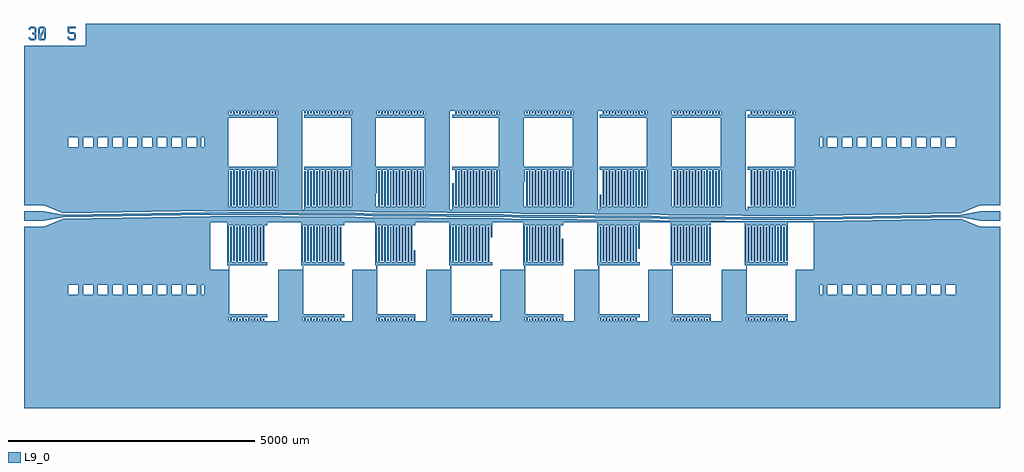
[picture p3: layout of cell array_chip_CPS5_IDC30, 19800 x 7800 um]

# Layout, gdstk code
from math import pi, radians
import gdstk
lib = gdstk.Library(unit=1e-6, precision=1e-09)
def R(c, l, rs):  # rectangles x0, y0, x1, y1
    for r in rs: c.add(gdstk.rectangle(r[:2], r[2:], *l))
def P(c, l, *ps):  # polygons
    for p in ps: c.add(gdstk.Polygon(p, *l))
L9_0 = (9, 0)

text_30_5 = lib.new_cell('text_30_5')
P(text_30_5, L9_0, [(-9703.5,3811.25),(-9672.5,3842),(-9580.25,3842),(-9549.5,3811.25),(-9549.5,3719),(-9565,3703.5),(-9549.5,3688),(-9549.5,3595.75),(-9580.5,3565),(-9672.75,3565),(-9703.5,3596),(-9703.5,3626.75),(-9672.75,3626.75),(-9672.75,3611.25),(-9657.25,3595.75),(-9595.75,3595.75),(-9580.25,3611.25),(-9580.25,3672.75),(-9595.75,3688.25),(-9626.5,3688.25),(-9626.5,3719),(-9595.75,3719),(-9580.25,3734.25),(-9580.25,3795.75),(-9595.75,3811.5),(-9657.25,3811.5),(-9672.75,3796),(-9672.75,3780.5),(-9703.5,3780.5)],
  [(-9472.75,3580.5),(-9349.5,3811.25),(-9380.25,3826.5),(-9503.5,3595.75)],
  [(-9503.5,3811.25),(-9472.75,3842),(-9457.25,3842),(-9457.25,3811.25),(-9472.75,3795.75),(-9472.75,3611.25),(-9457.25,3595.75),(-9395.75,3595.75),(-9380.25,3611.25),(-9380.25,3795.75),(-9395.75,3811.25),(-9457.25,3811.25),(-9457.25,3842),(-9380.25,3842),(-9349.5,3811.25),(-9349.5,3595.75),(-9380.5,3565),(-9472.75,3565),(-9503.5,3595.75)],
  [(-8749.75,3842),(-8749.75,3811.25),(-8872.75,3811.25),(-8872.75,3749.75),(-8857.25,3734.25),(-8780.25,3734.25),(-8749.5,3703.5),(-8749.5,3595.75),(-8780.5,3565),(-8872.75,3565),(-8903.5,3595.75),(-8903.5,3642),(-8872.75,3642),(-8872.75,3611.25),(-8857.25,3595.75),(-8795.75,3595.75),(-8780,3611),(-8780,3688),(-8795.5,3703.5),(-8872.5,3703.5),(-8903.25,3734.25),(-8903.25,3842)])

idc30_finger_pair_ = lib.new_cell('IDC30_finger_pair_')
R(idc30_finger_pair_, L9_0, [(90,60,810,90), (60,120,780,150)])

idc30_base = lib.new_cell('IDC30_base')
R(idc30_base, L9_0, [(0,0,60,750), (60,0,870,30), (810,35,870,750)])
r = gdstk.Reference(idc30_finger_pair_, (0,0)); r.repetition = gdstk.Repetition(1, 6, v1=(750,0), v2=(0,120)); idc30_base.add(r)

resonator_idc30_cps5__ba = lib.new_cell('resonator_IDC30_CPS5__base')
R(resonator_idc30_cps5__ba, L9_0, [(870,25,1870,30), (870,35,1870,40)])
resonator_idc30_cps5__ba.add(gdstk.Reference(idc30_base, (2740,0), rotation=pi, x_reflection=True))
resonator_idc30_cps5__ba.add(gdstk.Reference(idc30_base, (0,0)))

idc30_240_quad = lib.new_cell('IDC30_240_quad')
R(idc30_240_quad, L9_0, [(-1996,-2806.5,-1966,-2566.5), (-436,-2296.5,-406,-2056.5), (-436,-936.5,-406,-696.5), (-1996,-426.5,-1966,-186.5)])

idc30_480_quad = lib.new_cell('IDC30_480_quad')
R(idc30_480_quad, L9_0, [(1004,-2806.5,1034,-2326.5), (2564,-2536.5,2594,-2056.5), (2564,-936.5,2594,-456.5), (1004,-666.5,1034,-186.5)])

band_2_ext_idc30 = lib.new_cell('band_2_ext_IDC30')
R(band_2_ext_idc30, L9_0, [(3975,-2867.5,4035,-2807.5), (5475,-2867.5,5595,-2807.5), (5505,-2777.5,5535,-2057.5), (3975,-2057.5,4035,-1997.5), (5475,-2057.5,5595,-1997.5), (3975,-997.5,4035,-937.5), (5475,-997.5,5595,-937.5), (5505,-937.5,5535,-217.5), (3975,-187.5,4035,-127.5), (5475,-187.5,5595,-127.5)])

idc30_var_struct = lib.new_cell('IDC30_var_struct')
R(idc30_var_struct, L9_0, [(-4215,187.5,-4185,907.5), (-5775,217.5,-5745,937.5), (-5775,2057.5,-5745,2777.5), (-4215,2087.5,-4185,2807.5)])

idc30_seq = lib.new_cell('IDC30_seq')
R(idc30_seq, L9_0, [(-1215,187.5,-1185,667.5), (1785,187.5,1815,427.5), (-2775,457.5,-2745,937.5), (225,697.5,255,937.5), (-2775,2057.5,-2745,2537.5), (225,2057.5,255,2297.5), (-1215,2327.5,-1185,2807.5), (1785,2567.5,1815,2807.5)])
idc30_seq.add(gdstk.Reference(idc30_var_struct, (0,0)))

band_1a_ext_idc_30 = lib.new_cell('band_1a_ext_IDC_30')
R(band_1a_ext_idc_30, L9_0, [(-5775,127.5,-5715,187.5), (-5715,187.5,-5685,907.5), (-5775,937.5,-5715,997.5)])

band_1a_ext_idc30_pair = lib.new_cell('band_1a_ext_IDC30_pair')
band_1a_ext_idc30_pair.add(gdstk.Reference(band_1a_ext_idc_30, (0,2995), x_reflection=True))
band_1a_ext_idc30_pair.add(gdstk.Reference(band_1a_ext_idc_30, (0,0)))

band_1_ext_idc30 = lib.new_cell('band_1_ext_IDC30')
R(band_1_ext_idc30, L9_0, [(-5715,127.5,-5475,187.5), (-5655,217.5,-5625,937.5), (-5715,937.5,-5475,997.5)])
band_1_ext_idc30.add(gdstk.Reference(idc30_finger_pair_, (-5445,127.5), rotation=pi/2))

band_1_ext_idc30_pair = lib.new_cell('band_1_ext_IDC30_pair')
band_1_ext_idc30_pair.add(gdstk.Reference(band_1_ext_idc30, (0,2995), x_reflection=True))
band_1_ext_idc30_pair.add(gdstk.Reference(band_1_ext_idc30, (0,0)))

idc30_cps5_resonators = lib.new_cell('IDC30_CPS5_resonators')
r = gdstk.Reference(resonator_idc30_cps5__ba, (-5775,-127.5), rotation=3*pi/2); r.repetition = gdstk.Repetition(1, 8, v1=(0,-1500), v2=(1500,0)); idc30_cps5_resonators.add(r)
r = gdstk.Reference(resonator_idc30_cps5__ba, (5775,127.5), rotation=pi/2); r.repetition = gdstk.Repetition(1, 8, v1=(0,1500), v2=(-1500,0)); idc30_cps5_resonators.add(r)
idc30_cps5_resonators.add(gdstk.Reference(idc30_240_quad, (-2401,-1), rotation=pi, x_reflection=True))
idc30_cps5_resonators.add(gdstk.Reference(idc30_480_quad, (3599,-1), rotation=pi, x_reflection=True))
r = gdstk.Reference(band_2_ext_idc30, (-9000,0)); r.repetition = gdstk.Repetition(4, 1, v1=(3000,0), v2=(0,2740)); idc30_cps5_resonators.add(r)
idc30_cps5_resonators.add(gdstk.Reference(idc30_var_struct, (9780,0), x_reflection=True))
idc30_cps5_resonators.add(gdstk.Reference(idc30_seq, (0,0)))
r = gdstk.Reference(band_1a_ext_idc30_pair, (0,0)); r.repetition = gdstk.Repetition(4, 1, v1=(3000,0), v2=(0,2740)); idc30_cps5_resonators.add(r)
r = gdstk.Reference(band_1_ext_idc30_pair, (0,0)); r.repetition = gdstk.Repetition(8, 1, v1=(1500,0), v2=(0,2740)); idc30_cps5_resonators.add(r)

cell0 = lib.new_cell('Cell0')
R(cell0, L9_0, [(-9100,1397.5,-9000,1597.5)])

trl_section2 = lib.new_cell('trl_section2')
R(trl_section2, L9_0, [(5825,-122.5,6125,-107.5), (5825,-77.5,6125,-27.5), (5825,2.5,6125,107.5)])

groundplane_spoke = lib.new_cell('groundplane_spoke')
R(groundplane_spoke, L9_0, [(-4730,47.5,-4250,2082.5)])

input_coupler_half = lib.new_cell('input_coupler_half')
R(input_coupler_half, L9_0, [(0,-320,400,-220), (0,-100,400,0)])
P(input_coupler_half, L9_0, [(400,-220),(800,-55),(800,-320),(400,-320)],
  [(400,-100),(400,0),(800,0),(800,-25)])

input_coupler = lib.new_cell('input_coupler')
input_coupler.add(gdstk.Reference(input_coupler_half, (-9900,0), x_reflection=True))
input_coupler.add(gdstk.Reference(input_coupler_half, (-9900,0)))

chip_boarder_half = lib.new_cell('chip_boarder_half')
R(chip_boarder_half, L9_0, [(-9900,-3900,-9100,-320), (-9100,-3900,0,-3100), (-6240,-3100,0,-2135), (-6240,2135,0,3100)])
P(chip_boarder_half, L9_0, [(-9900,320),(-9100,320),(-9100,3100),(0,3100),(0,3900),(-8647,3900),(-8647,3450),(-9900,3450)])
chip_boarder_half.add(gdstk.Reference(input_coupler, (0,0)))

array_chip_base = lib.new_cell('array_chip_base')
R(array_chip_base, L9_0, [(-9100,-3100,-6125,-1597.5), (6125,-3100,9100,-1597.5), (-6125,-122.5,-5825,-107.5), (-5825,-122.5,4675,-107.5), (4675,-122.5,5825,-107.5), (-5825,-107.5,-4675,-2.5), (-4325,-107.5,-3175,-17.5), (-2825,-107.5,-1675,-32.5), (-1325,-107.5,-175,-47.5), (175,-107.5,1325,-62.5), (1675,-107.5,2825,-77.5), (3175,-107.5,4325,-92.5), (4675,-77.5,5825,-27.5), (3175,-62.5,4325,-12.5), (1675,-47.5,2825,2.5), (175,-32.5,1325,17.5), (-1325,-17.5,-175,32.5), (-2825,-2.5,-1675,47.5), (4675,2.5,5825,107.5), (-4325,12.5,-3175,62.5), (3175,17.5,4325,107.5), (-5825,27.5,-4675,77.5), (1675,32.5,2825,107.5), (175,47.5,1325,107.5), (-1325,62.5,-175,107.5), (-2825,77.5,-1675,107.5), (-4325,92.5,-3175,107.5), (-5825,107.5,-4675,122.5), (-4675,107.5,6125,122.5), (-9100,1597.5,-6125,3100), (6125,1597.5,9100,3100), (8647,3450,9900,3900)])
P(array_chip_base, L9_0, [(9100,25),(9100,-25),(6125,-77.5),(6125,-27.5)],
  [(-6125,77.5),(-6125,27.5),(-9100,-25),(-9100,25)],
  [(-4675,-2.5),(-4675,-107.5),(-4325,-107.5),(-4325,-17.5)],
  [(-3175,-17.5),(-3175,-107.5),(-2825,-107.5),(-2825,-32.5)],
  [(-1675,-32.5),(-1675,-107.5),(-1325,-107.5),(-1325,-47.5)],
  [(-175,-47.5),(-175,-107.5),(175,-107.5),(175,-62.5)],
  [(1325,-62.5),(1325,-107.5),(1675,-107.5),(1675,-77.5)],
  [(2825,-77.5),(2825,-107.5),(3175,-107.5),(3175,-92.5)],
  [(4325,-92.5),(4325,-107.5),(4675,-107.5)],
  [(4325,107.5),(4325,17.5),(4675,2.5),(4675,107.5)],
  [(2825,107.5),(2825,32.5),(3175,17.5),(3175,107.5)],
  [(1325,107.5),(1325,47.5),(1675,32.5),(1675,107.5)],
  [(-175,107.5),(-175,62.5),(175,47.5),(175,107.5)],
  [(-1675,107.5),(-1675,77.5),(-1325,62.5),(-1325,107.5)],
  [(-3175,107.5),(-3175,92.5),(-2825,77.5),(-2825,107.5)],
  [(-4675,107.5),(-4325,92.5),(-4325,107.5)],
  [(4325,-12.5),(4325,-62.5),(4675,-77.5),(4675,-27.5)],
  [(2825,2.5),(2825,-47.5),(3175,-62.5),(3175,-12.5)],
  [(1325,17.5),(1325,-32.5),(1675,-47.5),(1675,2.5)],
  [(-175,32.5),(-175,-17.5),(175,-32.5),(175,17.5)],
  [(-1675,47.5),(-1675,-2.5),(-1325,-17.5),(-1325,32.5)],
  [(-3175,62.5),(-3175,12.5),(-2825,-2.5),(-2825,47.5)],
  [(-4675,77.5),(-4675,27.5),(-4325,12.5),(-4325,62.5)],
  [(-9100,55),(-6125,107.5),(-6125,1397.5),(-9100,1397.5)],
  [(9100,55),(9100,1397.5),(6125,1397.5),(6125,2.5)],
  [(9100,-55),(6125,-107.5),(6125,-1397.5),(9100,-1397.5)],
  [(-9100,-55),(-9100,-1397.5),(-6125,-1397.5),(-6125,-2.5)])
r = gdstk.Reference(cell0, (15400,-2995)); r.repetition = gdstk.Repetition(10, 1, v1=(300,0), v2=(0,200)); array_chip_base.add(r)
r = gdstk.Reference(cell0, (0,-2995)); r.repetition = gdstk.Repetition(10, 1, v1=(300,0), v2=(0,200)); array_chip_base.add(r)
r = gdstk.Reference(cell0, (15400,0)); r.repetition = gdstk.Repetition(10, 1, v1=(300,0), v2=(0,200)); array_chip_base.add(r)
r = gdstk.Reference(cell0, (0,0)); r.repetition = gdstk.Repetition(10, 1, v1=(300,0), v2=(0,200)); array_chip_base.add(r)
array_chip_base.add(gdstk.Reference(trl_section2, (-11950,0), x_reflection=True))
array_chip_base.add(gdstk.Reference(trl_section2, (0,0)))
r = gdstk.Reference(groundplane_spoke, (-1510,-3170)); r.repetition = gdstk.Repetition(9, 1, v1=(1500,0), v2=(0,3030)); array_chip_base.add(r)
r = gdstk.Reference(groundplane_spoke, (-1510,52.5)); r.repetition = gdstk.Repetition(9, 1, v1=(1500,0), v2=(0,3030)); array_chip_base.add(r)
array_chip_base.add(gdstk.Reference(chip_boarder_half, (0,0), rotation=pi, x_reflection=True))
array_chip_base.add(gdstk.Reference(chip_boarder_half, (0,0)))

array_chip_cps5_idc30 = lib.new_cell('array_chip_CPS5_IDC30')
array_chip_cps5_idc30.add(gdstk.Reference(text_30_5, (-105,-4.5)))
array_chip_cps5_idc30.add(gdstk.Reference(idc30_cps5_resonators, (0,0)))
array_chip_cps5_idc30.add(gdstk.Reference(array_chip_base, (0,0)))

lib.write_gds('array_chip_CPS5_IDC30.gds')
